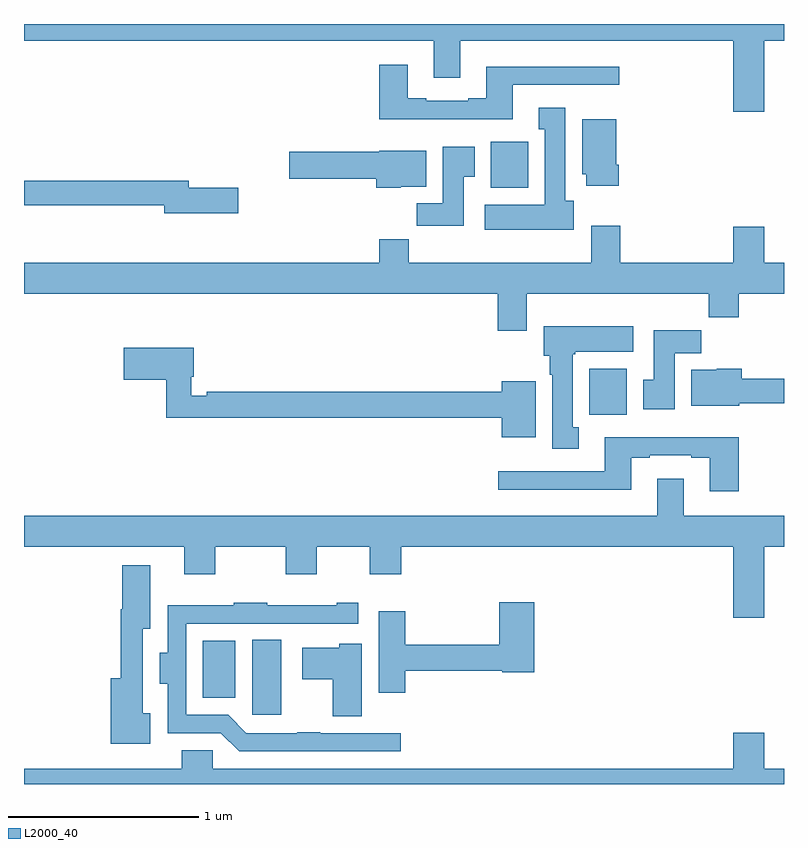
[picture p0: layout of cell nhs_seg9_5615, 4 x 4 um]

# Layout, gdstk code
import gdstk
lib = gdstk.Library(unit=1e-6, precision=1e-09)
def R(c, l, rs):  # rectangles x0, y0, x1, y1
    for r in rs: c.add(gdstk.rectangle(r[:2], r[2:], *l))
def P(c, l, *ps):  # polygons
    for p in ps: c.add(gdstk.Polygon(p, *l))
L2000_40 = (2000, 40)

nhs_seg9_5615 = lib.new_cell('nhs_seg9_5615')
R(nhs_seg9_5615, L2000_40, [(438.2,1200.864,438.355,1201.259), (437.942,1200.953,438.112,1201.255), (439.976,1202.444,440.173,1202.686), (439.457,1203.638,439.654,1203.88)])
P(nhs_seg9_5615, L2000_40, [(440.896,1204.412),(441,1204.412),(441,1204.5),(437,1204.5),(437,1204.412),(439.157,1204.412),(439.157,1204.218),(439.297,1204.218),(439.297,1204.412),(440.732,1204.412),(440.732,1204.038),(440.896,1204.038)],
  [(439.573,1204.179),(440.134,1204.179),(440.134,1204.276),(439.433,1204.276),(439.433,1204.108),(439.337,1204.108),(439.337,1204.095),(439.117,1204.095),(439.117,1204.108),(439.021,1204.108),(439.021,1204.285),(438.869,1204.285),(438.869,1203.998),(439.573,1203.998)],
  [(439.894,1203.57),(439.849,1203.57),(439.849,1204.06),(439.709,1204.06),(439.709,1203.947),(439.742,1203.947),(439.742,1203.55),(439.425,1203.55),(439.425,1203.416),(439.894,1203.416)],
  [(440.129,1203.76),(440.116,1203.76),(440.116,1204),(439.937,1204),(439.937,1203.708),(439.958,1203.708),(439.958,1203.648),(440.129,1203.648)],
  [(439.315,1203.697),(439.372,1203.697),(439.372,1203.853),(439.205,1203.853),(439.205,1203.556),(439.066,1203.556),(439.066,1203.438),(439.315,1203.438)],
  [(438.984,1203.644),(439.117,1203.644),(439.117,1203.832),(438.87,1203.832),(438.87,1203.827),(438.396,1203.827),(438.396,1203.685),(438.854,1203.685),(438.854,1203.638),(438.984,1203.638)],
  [(438.127,1203.638),(437.866,1203.638),(437.866,1203.674),(437,1203.674),(437,1203.546),(437.738,1203.546),(437.738,1203.503),(438.127,1203.503)],
  [(439.645,1203.08),(440.605,1203.08),(440.605,1202.956),(440.762,1202.956),(440.762,1203.08),(441,1203.08),(441,1203.244),(440.896,1203.244),(440.896,1203.433),(440.732,1203.433),(440.732,1203.244),(440.138,1203.244),(440.138,1203.439),(439.985,1203.439),(439.985,1203.244),(439.025,1203.244),(439.025,1203.368),(438.869,1203.368),(438.869,1203.244),(437,1203.244),(437,1203.08),(439.493,1203.08),(439.493,1202.886),(439.645,1202.886)],
  [(439.921,1202.378),(439.888,1202.378),(439.888,1202.761),(439.902,1202.761),(439.902,1202.774),(440.206,1202.774),(440.206,1202.908),(439.736,1202.908),(439.736,1202.754),(439.766,1202.754),(439.766,1202.654),(439.781,1202.654),(439.781,1202.265),(439.921,1202.265)],
  [(440.425,1202.768),(440.564,1202.768),(440.564,1202.887),(440.315,1202.887),(440.315,1202.628),(440.258,1202.628),(440.258,1202.472),(440.425,1202.472)],
  [(439.693,1202.62),(439.514,1202.62),(439.514,1202.564),(437.962,1202.564),(437.962,1202.544),(437.881,1202.544),(437.881,1202.643),(437.893,1202.643),(437.893,1202.797),(437.526,1202.797),(437.526,1202.627),(437.749,1202.627),(437.749,1202.428),(439.514,1202.428),(439.514,1202.324),(439.693,1202.324)],
  [(440.764,1202.503),(441,1202.503),(441,1202.632),(440.777,1202.632),(440.777,1202.686),(440.646,1202.686),(440.646,1202.68),(440.513,1202.68),(440.513,1202.492),(440.764,1202.492)],
  [(440.762,1202.326),(440.057,1202.326),(440.057,1202.145),(439.497,1202.145),(439.497,1202.048),(440.197,1202.048),(440.197,1202.217),(440.293,1202.217),(440.293,1202.229),(440.513,1202.229),(440.513,1202.217),(440.609,1202.217),(440.609,1202.04),(440.762,1202.04)],
  [(440.896,1201.748),(441,1201.748),(441,1201.912),(440.473,1201.912),(440.473,1202.107),(440.333,1202.107),(440.333,1201.912),(437,1201.912),(437,1201.748),(437.843,1201.748),(437.843,1201.605),(438.007,1201.605),(438.007,1201.748),(438.377,1201.748),(438.377,1201.605),(438.541,1201.605),(438.541,1201.748),(438.821,1201.748),(438.821,1201.605),(438.985,1201.605),(438.985,1201.748),(440.732,1201.748),(440.732,1201.374),(440.896,1201.374)],
  [(437.665,1200.873),(437.625,1200.873),(437.625,1201.316),(437.665,1201.316),(437.665,1201.651),(437.516,1201.651),(437.516,1201.42),(437.509,1201.42),(437.509,1201.057),(437.456,1201.057),(437.456,1200.713),(437.665,1200.713)],
  [(439.007,1201.096),(439.518,1201.096),(439.518,1201.088),(439.685,1201.088),(439.685,1201.456),(439.502,1201.456),(439.502,1201.232),(439.007,1201.232),(439.007,1201.408),(438.866,1201.408),(438.866,1200.981),(439.007,1200.981)],
  [(438.982,1200.768),(438.56,1200.768),(438.56,1200.773),(438.439,1200.773),(438.439,1200.768),(438.171,1200.768),(438.075,1200.864),(437.853,1200.864),(437.853,1201.344),(438.76,1201.344),(438.76,1201.453),(438.647,1201.453),(438.647,1201.441),(438.281,1201.441),(438.281,1201.453),(438.103,1201.453),(438.103,1201.441),(437.757,1201.441),(437.757,1201.192),(437.714,1201.192),(437.714,1201.028),(437.756,1201.028),(437.756,1200.768),(438.036,1200.768),(438.132,1200.672),(438.982,1200.672)],
  [(438.778,1201.237),(438.66,1201.237),(438.66,1201.216),(438.465,1201.216),(438.465,1201.052),(438.626,1201.052),(438.626,1200.857),(438.778,1200.857)],
  [(441,1200.58),(440.896,1200.58),(440.896,1200.769),(440.732,1200.769),(440.732,1200.58),(437.994,1200.58),(437.994,1200.678),(437.831,1200.678),(437.831,1200.58),(437,1200.58),(437,1200.5),(441,1200.5)])

lib.write_gds('nhs_seg9_5615.gds')
